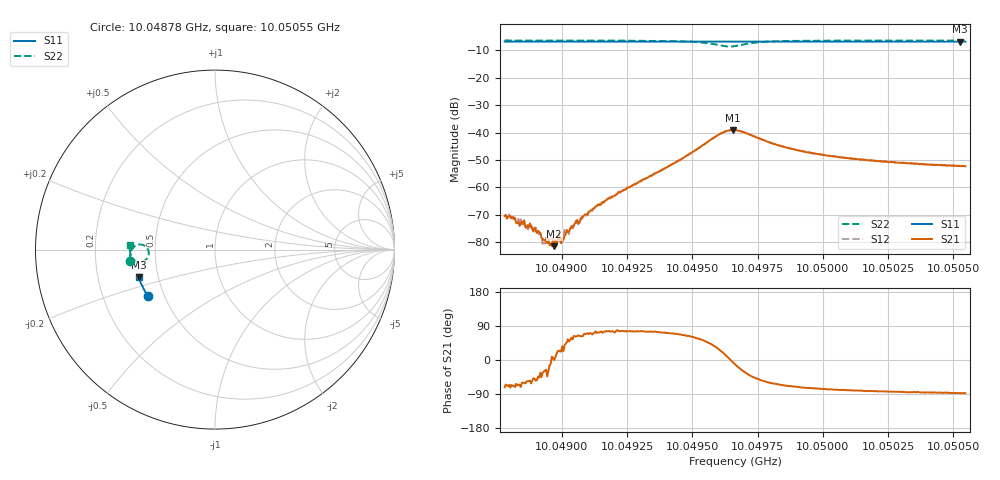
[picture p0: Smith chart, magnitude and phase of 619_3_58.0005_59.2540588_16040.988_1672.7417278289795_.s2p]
#  HZ  S  RI  R  50.00
! Rohde & Schwarz Vector Network Analyzer
! Rohde-Schwarz,ZNB20-2Port,1311601062101988,3.16
! Created: UTC 3/21/2024, 1:18:04 AM
! freq[Hz]  re:S11  im:S11  re:S21  im:S21  re:S12  im:S12  re:S22  im:S22
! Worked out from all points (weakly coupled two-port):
!   401 points, 10.04878 GHz to 10.05055 GHz, reference 50 ohm
!   highest |S21| = -39.09 dB at 10.04965 GHz (marker M1); lowest = -81.4 dB at 10.04897 GHz (marker M2)
!   lowest |S11| = -6.9 dB at 10.05052 GHz (marker M3), VSWR 2.65, Z = 19.4 - j7.54 ohm
!   |S11| at or under -10 dB: nowhere
!   |S22| runs from -8.7 to -6.4 dB; largest |S21 - S12| = 0.00083
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1.0048781e10  -0.3756 -0.2576  9.22e-05 -0.000287  0.000127 -0.000291  -0.4718 -0.0659
1.0048807e10  -0.3764 -0.256  0.000111 -0.000248  0.000133 -0.000256  -0.472 -0.0637
1.0048834e10  -0.3775 -0.2546  9.8e-05 -0.000212  0.000127 -0.000236  -0.4722 -0.0617
1.0048878e10  -0.379 -0.2521  0.000127 -0.000181  0.000125 -0.000128  -0.4724 -0.0582
1.0048909e10  -0.3802 -0.2504  0.000116 -0.000113  0.000129 -0.000109  -0.4725 -0.0557
1.0048926e10  -0.3808 -0.2494  9.75e-05 -6.34e-05  8.32e-05 -4.33e-05  -0.4727 -0.0543
1.0048935e10  -0.3811 -0.2489  9.72e-05 -5.13e-05  8.16e-05 -4.84e-05  -0.4727 -0.0537
1.0048948e10  -0.3816 -0.2481  0.000104 -5.7e-05  9.73e-05 -2.76e-05  -0.4727 -0.0524
1.004897e10  -0.3822 -0.2467  8.51e-05 -5.03e-07  9.37e-05 2.33e-05  -0.4728 -0.0507
1.0049001e10  -0.3833 -0.2451  9.8e-05 7.22e-05  8.32e-05 5.77e-05  -0.473 -0.0479
1.0049045e10  -0.3848 -0.2425  8.97e-05 0.000176  0.000113 0.000198  -0.4728 -0.0441
1.0049076e10  -0.3859 -0.2409  0.000125 0.00024  8.36e-05 0.000276  -0.4728 -0.0413
1.0049173e10  -0.3891 -0.2352  0.000146 0.000598  0.000118 0.000582  -0.4724 -0.032
1.0049372e10  -0.3954 -0.2237  0.000565 0.00186  0.000464 0.00191  -0.4673 -0.00713
1.0049606e10  -0.4015 -0.2096  0.0085 0.00413  0.00819 0.00466  -0.3878 0.0184
1.0049654e10  -0.4025 -0.2073  0.0111 -0.00107  0.0111 -0.000292  -0.3701 -0.0316
1.0049663e10  -0.4028 -0.2069  0.0109 -0.00217  0.011 -0.00139  -0.3735 -0.0413
1.0049818e10  -0.4078 -0.1983  0.00278 -0.00542  0.00313 -0.0053  -0.4567 -0.0525
1.0049959e10  -0.4117 -0.1896  0.00113 -0.00403  0.00139 -0.00401  -0.4706 -0.0275
1.0050255e10  -0.4191 -0.1717  0.000319 -0.00288  0.000502 -0.00287  -0.4751 0.00437
1.0050524e10  -0.4251 -0.1549  0.000113 -0.00245  0.000242 -0.00244  -0.4748 0.0264
1.0050546e10  -0.4255 -0.1537  9.6e-05 -0.00243  0.000215 -0.00244  -0.475 0.0281
